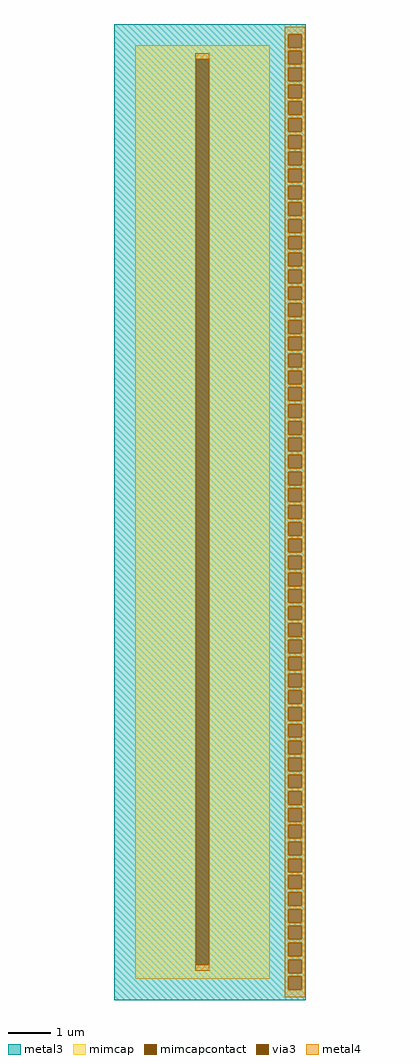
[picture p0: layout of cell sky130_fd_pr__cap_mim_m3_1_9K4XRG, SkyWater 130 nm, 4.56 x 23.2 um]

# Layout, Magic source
magic
tech sky130A
magscale 1 2
<< metal3 >>
rect -456 2272 456 2320
rect -456 2208 372 2272
rect 436 2208 456 2272
rect -456 2192 456 2208
rect -456 2128 372 2192
rect 436 2128 456 2192
rect -456 2112 456 2128
rect -456 2048 372 2112
rect 436 2048 456 2112
rect -456 2032 456 2048
rect -456 1968 372 2032
rect 436 1968 456 2032
rect -456 1952 456 1968
rect -456 1888 372 1952
rect 436 1888 456 1952
rect -456 1872 456 1888
rect -456 1808 372 1872
rect 436 1808 456 1872
rect -456 1792 456 1808
rect -456 1728 372 1792
rect 436 1728 456 1792
rect -456 1712 456 1728
rect -456 1648 372 1712
rect 436 1648 456 1712
rect -456 1632 456 1648
rect -456 1568 372 1632
rect 436 1568 456 1632
rect -456 1552 456 1568
rect -456 1488 372 1552
rect 436 1488 456 1552
rect -456 1472 456 1488
rect -456 1408 372 1472
rect 436 1408 456 1472
rect -456 1392 456 1408
rect -456 1328 372 1392
rect 436 1328 456 1392
rect -456 1312 456 1328
rect -456 1248 372 1312
rect 436 1248 456 1312
rect -456 1232 456 1248
rect -456 1168 372 1232
rect 436 1168 456 1232
rect -456 1152 456 1168
rect -456 1088 372 1152
rect 436 1088 456 1152
rect -456 1072 456 1088
rect -456 1008 372 1072
rect 436 1008 456 1072
rect -456 992 456 1008
rect -456 928 372 992
rect 436 928 456 992
rect -456 912 456 928
rect -456 848 372 912
rect 436 848 456 912
rect -456 832 456 848
rect -456 768 372 832
rect 436 768 456 832
rect -456 752 456 768
rect -456 688 372 752
rect 436 688 456 752
rect -456 672 456 688
rect -456 608 372 672
rect 436 608 456 672
rect -456 592 456 608
rect -456 528 372 592
rect 436 528 456 592
rect -456 512 456 528
rect -456 448 372 512
rect 436 448 456 512
rect -456 432 456 448
rect -456 368 372 432
rect 436 368 456 432
rect -456 352 456 368
rect -456 288 372 352
rect 436 288 456 352
rect -456 272 456 288
rect -456 208 372 272
rect 436 208 456 272
rect -456 192 456 208
rect -456 128 372 192
rect 436 128 456 192
rect -456 112 456 128
rect -456 48 372 112
rect 436 48 456 112
rect -456 32 456 48
rect -456 -32 372 32
rect 436 -32 456 32
rect -456 -48 456 -32
rect -456 -112 372 -48
rect 436 -112 456 -48
rect -456 -128 456 -112
rect -456 -192 372 -128
rect 436 -192 456 -128
rect -456 -208 456 -192
rect -456 -272 372 -208
rect 436 -272 456 -208
rect -456 -288 456 -272
rect -456 -352 372 -288
rect 436 -352 456 -288
rect -456 -368 456 -352
rect -456 -432 372 -368
rect 436 -432 456 -368
rect -456 -448 456 -432
rect -456 -512 372 -448
rect 436 -512 456 -448
rect -456 -528 456 -512
rect -456 -592 372 -528
rect 436 -592 456 -528
rect -456 -608 456 -592
rect -456 -672 372 -608
rect 436 -672 456 -608
rect -456 -688 456 -672
rect -456 -752 372 -688
rect 436 -752 456 -688
rect -456 -768 456 -752
rect -456 -832 372 -768
rect 436 -832 456 -768
rect -456 -848 456 -832
rect -456 -912 372 -848
rect 436 -912 456 -848
rect -456 -928 456 -912
rect -456 -992 372 -928
rect 436 -992 456 -928
rect -456 -1008 456 -992
rect -456 -1072 372 -1008
rect 436 -1072 456 -1008
rect -456 -1088 456 -1072
rect -456 -1152 372 -1088
rect 436 -1152 456 -1088
rect -456 -1168 456 -1152
rect -456 -1232 372 -1168
rect 436 -1232 456 -1168
rect -456 -1248 456 -1232
rect -456 -1312 372 -1248
rect 436 -1312 456 -1248
rect -456 -1328 456 -1312
rect -456 -1392 372 -1328
rect 436 -1392 456 -1328
rect -456 -1408 456 -1392
rect -456 -1472 372 -1408
rect 436 -1472 456 -1408
rect -456 -1488 456 -1472
rect -456 -1552 372 -1488
rect 436 -1552 456 -1488
rect -456 -1568 456 -1552
rect -456 -1632 372 -1568
rect 436 -1632 456 -1568
rect -456 -1648 456 -1632
rect -456 -1712 372 -1648
rect 436 -1712 456 -1648
rect -456 -1728 456 -1712
rect -456 -1792 372 -1728
rect 436 -1792 456 -1728
rect -456 -1808 456 -1792
rect -456 -1872 372 -1808
rect 436 -1872 456 -1808
rect -456 -1888 456 -1872
rect -456 -1952 372 -1888
rect 436 -1952 456 -1888
rect -456 -1968 456 -1952
rect -456 -2032 372 -1968
rect 436 -2032 456 -1968
rect -456 -2048 456 -2032
rect -456 -2112 372 -2048
rect 436 -2112 456 -2048
rect -456 -2128 456 -2112
rect -456 -2192 372 -2128
rect 436 -2192 456 -2128
rect -456 -2208 456 -2192
rect -456 -2272 372 -2208
rect 436 -2272 456 -2208
rect -456 -2320 456 -2272
<< via3 >>
rect 372 2208 436 2272
rect 372 2128 436 2192
rect 372 2048 436 2112
rect 372 1968 436 2032
rect 372 1888 436 1952
rect 372 1808 436 1872
rect 372 1728 436 1792
rect 372 1648 436 1712
rect 372 1568 436 1632
rect 372 1488 436 1552
rect 372 1408 436 1472
rect 372 1328 436 1392
rect 372 1248 436 1312
rect 372 1168 436 1232
rect 372 1088 436 1152
rect 372 1008 436 1072
rect 372 928 436 992
rect 372 848 436 912
rect 372 768 436 832
rect 372 688 436 752
rect 372 608 436 672
rect 372 528 436 592
rect 372 448 436 512
rect 372 368 436 432
rect 372 288 436 352
rect 372 208 436 272
rect 372 128 436 192
rect 372 48 436 112
rect 372 -32 436 32
rect 372 -112 436 -48
rect 372 -192 436 -128
rect 372 -272 436 -208
rect 372 -352 436 -288
rect 372 -432 436 -368
rect 372 -512 436 -448
rect 372 -592 436 -528
rect 372 -672 436 -608
rect 372 -752 436 -688
rect 372 -832 436 -768
rect 372 -912 436 -848
rect 372 -992 436 -928
rect 372 -1072 436 -1008
rect 372 -1152 436 -1088
rect 372 -1232 436 -1168
rect 372 -1312 436 -1248
rect 372 -1392 436 -1328
rect 372 -1472 436 -1408
rect 372 -1552 436 -1488
rect 372 -1632 436 -1568
rect 372 -1712 436 -1648
rect 372 -1792 436 -1728
rect 372 -1872 436 -1808
rect 372 -1952 436 -1888
rect 372 -2032 436 -1968
rect 372 -2112 436 -2048
rect 372 -2192 436 -2128
rect 372 -2272 436 -2208
<< mimcap >>
rect -356 2152 284 2220
rect -356 -2152 -68 2152
rect -4 -2152 284 2152
rect -356 -2220 284 -2152
<< mimcapcontact >>
rect -68 -2152 -4 2152
<< metal4 >>
rect 356 2272 452 2308
rect 356 2208 372 2272
rect 436 2208 452 2272
rect 356 2192 452 2208
rect -69 2152 -3 2181
rect -69 -2152 -68 2152
rect -4 -2152 -3 2152
rect -69 -2181 -3 -2152
rect 356 2128 372 2192
rect 436 2128 452 2192
rect 356 2112 452 2128
rect 356 2048 372 2112
rect 436 2048 452 2112
rect 356 2032 452 2048
rect 356 1968 372 2032
rect 436 1968 452 2032
rect 356 1952 452 1968
rect 356 1888 372 1952
rect 436 1888 452 1952
rect 356 1872 452 1888
rect 356 1808 372 1872
rect 436 1808 452 1872
rect 356 1792 452 1808
rect 356 1728 372 1792
rect 436 1728 452 1792
rect 356 1712 452 1728
rect 356 1648 372 1712
rect 436 1648 452 1712
rect 356 1632 452 1648
rect 356 1568 372 1632
rect 436 1568 452 1632
rect 356 1552 452 1568
rect 356 1488 372 1552
rect 436 1488 452 1552
rect 356 1472 452 1488
rect 356 1408 372 1472
rect 436 1408 452 1472
rect 356 1392 452 1408
rect 356 1328 372 1392
rect 436 1328 452 1392
rect 356 1312 452 1328
rect 356 1248 372 1312
rect 436 1248 452 1312
rect 356 1232 452 1248
rect 356 1168 372 1232
rect 436 1168 452 1232
rect 356 1152 452 1168
rect 356 1088 372 1152
rect 436 1088 452 1152
rect 356 1072 452 1088
rect 356 1008 372 1072
rect 436 1008 452 1072
rect 356 992 452 1008
rect 356 928 372 992
rect 436 928 452 992
rect 356 912 452 928
rect 356 848 372 912
rect 436 848 452 912
rect 356 832 452 848
rect 356 768 372 832
rect 436 768 452 832
rect 356 752 452 768
rect 356 688 372 752
rect 436 688 452 752
rect 356 672 452 688
rect 356 608 372 672
rect 436 608 452 672
rect 356 592 452 608
rect 356 528 372 592
rect 436 528 452 592
rect 356 512 452 528
rect 356 448 372 512
rect 436 448 452 512
rect 356 432 452 448
rect 356 368 372 432
rect 436 368 452 432
rect 356 352 452 368
rect 356 288 372 352
rect 436 288 452 352
rect 356 272 452 288
rect 356 208 372 272
rect 436 208 452 272
rect 356 192 452 208
rect 356 128 372 192
rect 436 128 452 192
rect 356 112 452 128
rect 356 48 372 112
rect 436 48 452 112
rect 356 32 452 48
rect 356 -32 372 32
rect 436 -32 452 32
rect 356 -48 452 -32
rect 356 -112 372 -48
rect 436 -112 452 -48
rect 356 -128 452 -112
rect 356 -192 372 -128
rect 436 -192 452 -128
rect 356 -208 452 -192
rect 356 -272 372 -208
rect 436 -272 452 -208
rect 356 -288 452 -272
rect 356 -352 372 -288
rect 436 -352 452 -288
rect 356 -368 452 -352
rect 356 -432 372 -368
rect 436 -432 452 -368
rect 356 -448 452 -432
rect 356 -512 372 -448
rect 436 -512 452 -448
rect 356 -528 452 -512
rect 356 -592 372 -528
rect 436 -592 452 -528
rect 356 -608 452 -592
rect 356 -672 372 -608
rect 436 -672 452 -608
rect 356 -688 452 -672
rect 356 -752 372 -688
rect 436 -752 452 -688
rect 356 -768 452 -752
rect 356 -832 372 -768
rect 436 -832 452 -768
rect 356 -848 452 -832
rect 356 -912 372 -848
rect 436 -912 452 -848
rect 356 -928 452 -912
rect 356 -992 372 -928
rect 436 -992 452 -928
rect 356 -1008 452 -992
rect 356 -1072 372 -1008
rect 436 -1072 452 -1008
rect 356 -1088 452 -1072
rect 356 -1152 372 -1088
rect 436 -1152 452 -1088
rect 356 -1168 452 -1152
rect 356 -1232 372 -1168
rect 436 -1232 452 -1168
rect 356 -1248 452 -1232
rect 356 -1312 372 -1248
rect 436 -1312 452 -1248
rect 356 -1328 452 -1312
rect 356 -1392 372 -1328
rect 436 -1392 452 -1328
rect 356 -1408 452 -1392
rect 356 -1472 372 -1408
rect 436 -1472 452 -1408
rect 356 -1488 452 -1472
rect 356 -1552 372 -1488
rect 436 -1552 452 -1488
rect 356 -1568 452 -1552
rect 356 -1632 372 -1568
rect 436 -1632 452 -1568
rect 356 -1648 452 -1632
rect 356 -1712 372 -1648
rect 436 -1712 452 -1648
rect 356 -1728 452 -1712
rect 356 -1792 372 -1728
rect 436 -1792 452 -1728
rect 356 -1808 452 -1792
rect 356 -1872 372 -1808
rect 436 -1872 452 -1808
rect 356 -1888 452 -1872
rect 356 -1952 372 -1888
rect 436 -1952 452 -1888
rect 356 -1968 452 -1952
rect 356 -2032 372 -1968
rect 436 -2032 452 -1968
rect 356 -2048 452 -2032
rect 356 -2112 372 -2048
rect 436 -2112 452 -2048
rect 356 -2128 452 -2112
rect 356 -2192 372 -2128
rect 436 -2192 452 -2128
rect 356 -2208 452 -2192
rect 356 -2272 372 -2208
rect 436 -2272 452 -2208
rect 356 -2308 452 -2272
<< properties >>
string FIXED_BBOX -456 -2320 384 2320
<< end >>
